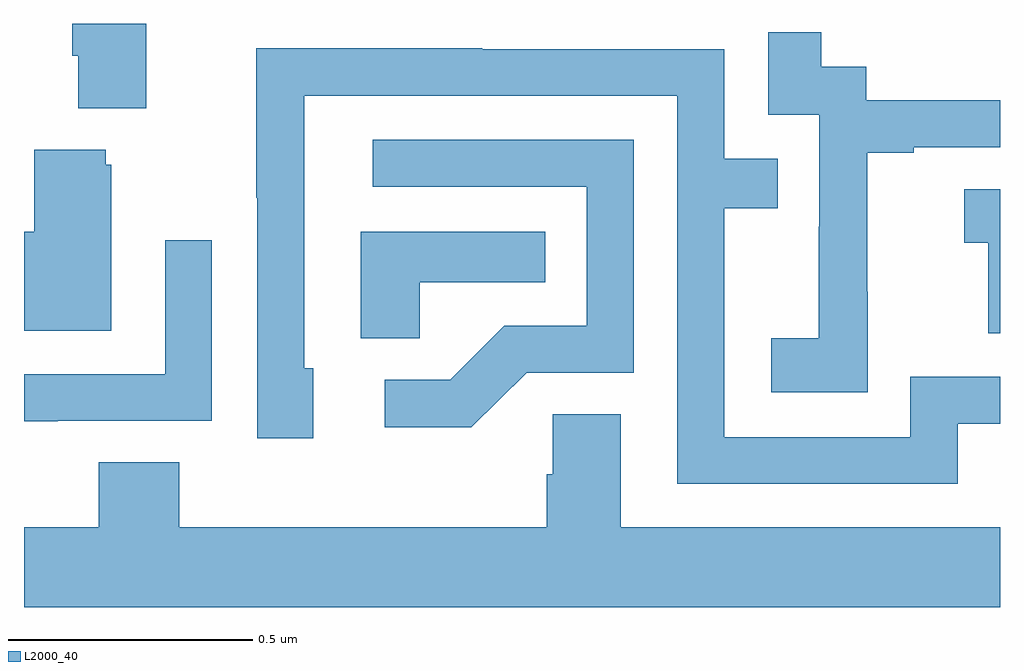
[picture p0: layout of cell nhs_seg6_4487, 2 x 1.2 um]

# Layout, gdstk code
import gdstk
lib = gdstk.Library(unit=1e-6, precision=1e-09)
def P(c, l, *ps):  # polygons
    for p in ps: c.add(gdstk.Polygon(p, *l))
L2000_40 = (2000, 40)

nhs_seg6_4487 = lib.new_cell('nhs_seg6_4487')
P(nhs_seg6_4487, L2000_40, [(170.251,980.5),(170.099,980.5),(170.099,980.434),(170.111,980.434),(170.111,980.327),(170.251,980.327)],
  [(171.729,979.951),(171.728,979.951),(171.728,980.235),(171.823,980.235),(171.823,980.247),(172,980.247),(172,980.343),(171.726,980.343),(171.726,980.412),(171.634,980.412),(171.634,980.482),(171.525,980.482),(171.525,980.313),(171.63,980.313),(171.63,980.084),(171.629,980.084),(171.629,979.855),(171.531,979.855),(171.531,979.745),(171.729,979.745)],
  [(171.913,979.68),(172,979.68),(172,979.776),(171.816,979.776),(171.816,979.653),(171.435,979.653),(171.435,980.122),(171.545,980.122),(171.545,980.223),(171.435,980.223),(171.435,980.448),(170.939,980.448),(170.939,980.45),(170.476,980.45),(170.476,980.143),(170.478,980.143),(170.478,979.65),(170.593,979.65),(170.593,979.794),(170.574,979.794),(170.574,980.352),(171.339,980.352),(171.339,979.557),(171.913,979.557)],
  [(171.03,979.785),(171.249,979.785),(171.249,980.262),(170.715,980.262),(170.715,980.166),(171.153,980.166),(171.153,979.881),(170.984,979.881),(170.873,979.77),(170.739,979.77),(170.739,979.673),(170.917,979.673)],
  [(170.179,980.211),(170.168,980.211),(170.168,980.242),(170.021,980.242),(170.021,980.074),(170,980.074),(170,979.871),(170.179,979.871)],
  [(172,980.161),(171.927,980.161),(171.927,980.051),(171.976,980.051),(171.976,979.866),(172,979.866)],
  [(170.811,979.97),(171.068,979.97),(171.068,980.074),(170.69,980.074),(170.69,979.855),(170.811,979.855)],
  [(170.069,979.686),(170.385,979.686),(170.385,980.056),(170.289,980.056),(170.289,979.782),(170,979.782),(170,979.685),(170.069,979.685)],
  [(172,979.468),(171.223,979.468),(171.223,979.7),(171.084,979.7),(171.084,979.577),(171.071,979.577),(171.071,979.468),(170.318,979.468),(170.318,979.601),(170.153,979.601),(170.153,979.468),(170,979.468),(170,979.304),(172,979.304)])

lib.write_gds('nhs_seg6_4487.gds')
